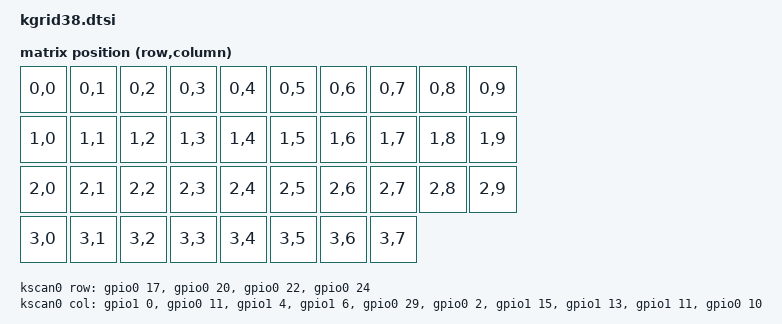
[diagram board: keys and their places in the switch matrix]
/*
 * Copyright (c) 2026 The ZMK Contributors
 *
 * SPDX-License-Identifier: MIT
 */

#include <dt-bindings/zmk/matrix_transform.h>
#include <physical_layouts.dtsi>

/ {
    chosen {
        zmk,kscan = &kscan0;
        zmk,physical-layout = &default_layout;
    };

    /* USBを優先的に使用する設定（BTよりUSB出力を優先） */
    behaviors {
        hw_soft_off: hw_soft_off {
            compatible = "zmk,behavior-soft-off";
            #binding-cells = <0>;
        };
    };

    default_transform: keymap_transform_0 {
        compatible = "zmk,matrix-transform";
        columns = <10>;
        rows = <4>;

        map = <
            RC(0,0) RC(0,1) RC(0,2) RC(0,3) RC(0,4) RC(0,5) RC(0,6) RC(0,7) RC(0,8) RC(0,9)
            RC(1,0) RC(1,1) RC(1,2) RC(1,3) RC(1,4) RC(1,5) RC(1,6) RC(1,7) RC(1,8) RC(1,9)
            RC(2,0) RC(2,1) RC(2,2) RC(2,3) RC(2,4) RC(2,5) RC(2,6) RC(2,7) RC(2,8) RC(2,9)
            RC(3,0) RC(3,1) RC(3,2) RC(3,3) RC(3,4) RC(3,5) RC(3,6) RC(3,7)
        >;
    };

    default_layout: default_layout {
        compatible = "zmk,physical-layout";
        display-name = "Default Layout";
        transform = <&default_transform>;
        kscan = <&kscan0>;
        keys
            //                     w    h    x    y   rot   rx   ry
            = <&key_physical_attrs 100 100    0   0    0    0    0>
            , <&key_physical_attrs 100 100  100   0    0    0    0>
            , <&key_physical_attrs 100 100  200   0    0    0    0>
            , <&key_physical_attrs 100 100  300   0    0    0    0>
            , <&key_physical_attrs 100 100  400   0    0    0    0>
            , <&key_physical_attrs 100 100  500   0    0    0    0>
            , <&key_physical_attrs 100 100  600   0    0    0    0>
            , <&key_physical_attrs 100 100  700   0    0    0    0>
            , <&key_physical_attrs 100 100  800   0    0    0    0>
            , <&key_physical_attrs 100 100  900   0    0    0    0>
            , <&key_physical_attrs 100 100    0 100    0    0    0>
            , <&key_physical_attrs 100 100  100 100    0    0    0>
            , <&key_physical_attrs 100 100  200 100    0    0    0>
            , <&key_physical_attrs 100 100  300 100    0    0    0>
            , <&key_physical_attrs 100 100  400 100    0    0    0>
            , <&key_physical_attrs 100 100  500 100    0    0    0>
            , <&key_physical_attrs 100 100  600 100    0    0    0>
            , <&key_physical_attrs 100 100  700 100    0    0    0>
            , <&key_physical_attrs 100 100  800 100    0    0    0>
            , <&key_physical_attrs 100 100  900 100    0    0    0>
            , <&key_physical_attrs 100 100    0 200    0    0    0>
            , <&key_physical_attrs 100 100  100 200    0    0    0>
            , <&key_physical_attrs 100 100  200 200    0    0    0>
            , <&key_physical_attrs 100 100  300 200    0    0    0>
            , <&key_physical_attrs 100 100  400 200    0    0    0>
            , <&key_physical_attrs 100 100  500 200    0    0    0>
            , <&key_physical_attrs 100 100  600 200    0    0    0>
            , <&key_physical_attrs 100 100  700 200    0    0    0>
            , <&key_physical_attrs 100 100  800 200    0    0    0>
            , <&key_physical_attrs 100 100  900 200    0    0    0>
            , <&key_physical_attrs 100 100    0 300    0    0    0>
            , <&key_physical_attrs 100 100  100 300    0    0    0>
            , <&key_physical_attrs 100 100  200 300    0    0    0>
            , <&key_physical_attrs 100 100  300 300    0    0    0>
            , <&key_physical_attrs 100 100  400 300    0    0    0>
            , <&key_physical_attrs 100 100  500 300    0    0    0>
            , <&key_physical_attrs 100 100  600 300    0    0    0>
            , <&key_physical_attrs 100 100  700 300    0    0    0>
            ;
    };

    kscan0: kscan {
        compatible = "zmk,kscan-gpio-matrix";
        label = "KSCAN";
        diode-direction = "col2row";

        /* Row側を Pull Down に設定 */
        row-gpios
            = <&gpio0 17 (GPIO_ACTIVE_HIGH | GPIO_PULL_DOWN)>
            , <&gpio0 20 (GPIO_ACTIVE_HIGH | GPIO_PULL_DOWN)>
            , <&gpio0 22 (GPIO_ACTIVE_HIGH | GPIO_PULL_DOWN)>
            , <&gpio0 24 (GPIO_ACTIVE_HIGH | GPIO_PULL_DOWN)>
            ;

        col-gpios
            = <&gpio1  0 GPIO_ACTIVE_HIGH>
            , <&gpio0 11 GPIO_ACTIVE_HIGH>
            , <&gpio1  4 GPIO_ACTIVE_HIGH>
            , <&gpio1  6 GPIO_ACTIVE_HIGH>
            , <&gpio0 29 GPIO_ACTIVE_HIGH>
            , <&gpio0  2 GPIO_ACTIVE_HIGH>
            , <&gpio1 15 GPIO_ACTIVE_HIGH>
            , <&gpio1 13 GPIO_ACTIVE_HIGH>
            , <&gpio1 11 GPIO_ACTIVE_HIGH>
            , <&gpio0 10 GPIO_ACTIVE_HIGH>
            ;
    };
};
